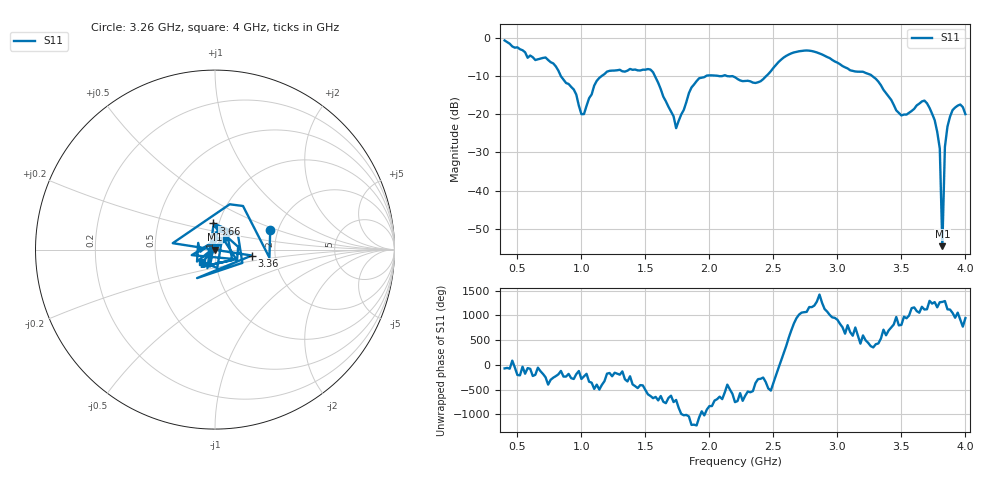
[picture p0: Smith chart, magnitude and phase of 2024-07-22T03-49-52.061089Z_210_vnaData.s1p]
!Created with skrf (http://scikit-rf.org).
# Hz S RI R 50.0
!freq ReS11 ImS11
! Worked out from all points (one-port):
!   181 points, 400 MHz to 4 GHz, reference 50 ohm
!   lowest |S11| = -54.5 dB at 3.82 GHz (marker M1), VSWR 1.00, Z = 49.8 - j0.0389 ohm
!   |S11| at or under -10 dB: 838.5 MHz to 1.161 GHz (322.2 MHz wide, 32.2 % of centre); 1.573 GHz to 1.977 GHz (403.3 MHz wide, 22.7 % of centre); 3.27 GHz to end of sweep (the widest 3 of 5)
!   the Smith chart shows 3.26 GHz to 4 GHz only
!   S11 on the Smith chart (normalised r, x): 3.26 GHz: 1.82, +0.44; 3.36 GHz: 1.51, -0.10; 3.66 GHz: 0.94, +0.28; 4 GHz: 0.86, -0.12
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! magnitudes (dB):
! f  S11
! 400 MHz  -0.8
! 580 MHz  -5.3
! 720 MHz  -5.2
! 860 MHz  -11.0
! 940 MHz  -13.6
! 1.02 GHz  -20.0
! 1.12 GHz  -11.3
! 1.3 GHz  -8.4
! 1.54 GHz  -8.4
! 1.74 GHz  -23.7
! 1.76 GHz  -21.8
! 1.92 GHz  -10.6
! 2.2 GHz  -10.4
! 2.4 GHz  -11.4
! 2.66 GHz  -3.9
! 3.1 GHz  -8.6
! 3.26 GHz  -9.7
! 3.36 GHz  -13.7
! 3.5 GHz  -20.4
! 3.56 GHz  -19.7
! 3.66 GHz  -16.7
! 3.76 GHz  -21.6
! 3.8 GHz  -29.0
! 3.82 GHz  -54.5
! 3.84 GHz  -28.6
! 3.86 GHz  -23.3
! 3.94 GHz  -17.8
! 4 GHz  -20.0
